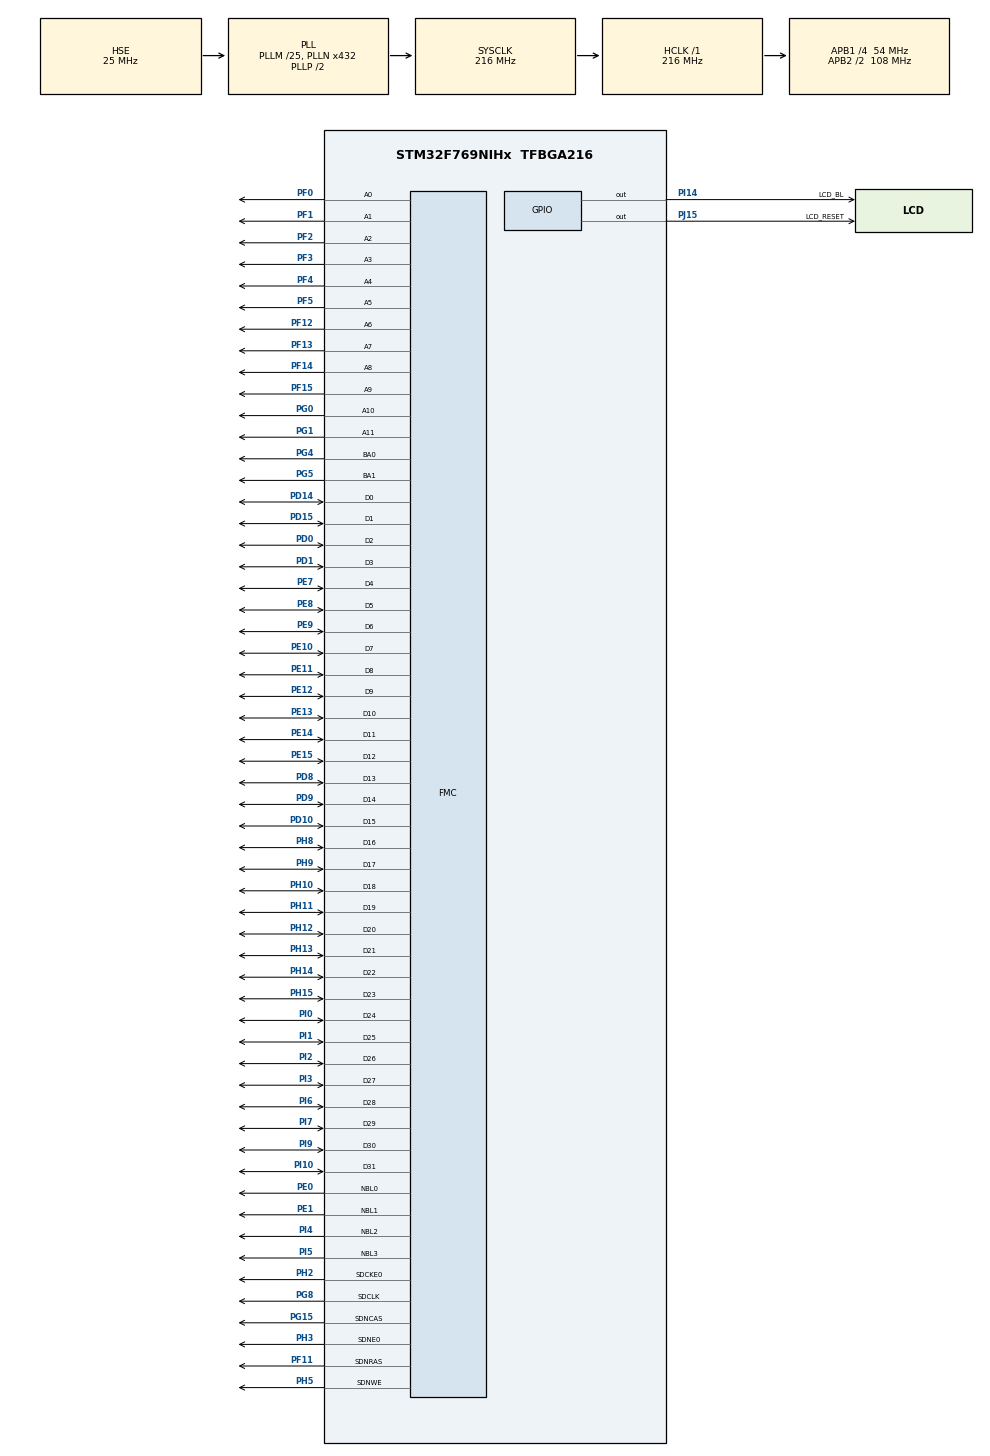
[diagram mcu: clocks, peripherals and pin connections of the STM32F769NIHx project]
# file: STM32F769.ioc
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CORTEX_M7.CPU_DCache=Enabled
CORTEX_M7.CPU_ICache=Enabled
DSIHOST.BTA_FlowControl=__NULL
DSIHOST.ClockLaneLP2HSTime=36
DSIHOST.DataLaneHS2LPTime=18
DSIHOST.DataLaneLP2HSTime=17
DSIHOST.GCEIE=HAL_DSI_ERROR_NONE
DSIHOST.HorizontalBackPorch=80
DSIHOST.HorizontalLine=1994
DSIHOST.HorizontalSyncActive=11
DSIHOST.LPCommandEnable=DSI_LP_COMMAND_ENABLE
DSIHOST.LPHorizontalBackPorchEnable=DSI_LP_HBP_ENABLE
DSIHOST.LPHorizontalFrontPorchEnable=DSI_LP_HFP_ENABLE
DSIHOST.LPLargestPacketSize=28
DSIHOST.LPVACTLargestPacketSize=8
DSIHOST.LPVerticalActiveEnable=DSI_LP_VACT_ENABLE
DSIHOST.LPVerticalBackPorchEnable=DSI_LP_VBP_ENABLE
DSIHOST.LPVerticalFrontPorchEnable=DSI_LP_VFP_ENABLE
DSIHOST.LPVerticalSyncActiveEnable=DSI_LP_VSYNC_ENABLE
DSIHOST.Mode=DSI_VID_MODE_BURST
DSIHOST.NumberOfLanes=DSI_TWO_DATA_LANES
DSIHOST_CKN.Mode=DSIHost_Video
DSIHOST_CKN.Signal=DSIHOST_CKN
DSIHOST_CKP.Mode=DSIHost_Video
DSIHOST_CKP.Signal=DSIHOST_CKP
DSIHOST_D0N.Mode=DSIHost_Video
DSIHOST_D0N.Signal=DSIHOST_D0N
DSIHOST_D0P.Mode=DSIHost_Video
DSIHOST_D0P.Signal=DSIHOST_D0P
DSIHOST_D1N.Mode=DSIHost_Video
DSIHOST_D1N.Signal=DSIHOST_D1N
DSIHOST_D1P.Mode=DSIHost_Video
DSIHOST_D1P.Signal=DSIHOST_D1P
FMC.CASLatency1=FMC_SDRAM_CAS_LATENCY_3
FMC.ColumnBitsNumber1=FMC_SDRAM_COLUMN_BITS_NUM_8
FMC.ExitSelfRefreshDelay1=7
FMC.LoadToActiveDelay1=2
FMC.RCDDelay1=2
FMC.RPDelay1=2
FMC.ReadBurst1=FMC_SDRAM_RBURST_ENABLE
FMC.RowCycleDelay1=7
FMC.SDClockPeriod1=FMC_SDRAM_CLOCK_PERIOD_2
FMC.SelfRefreshTime1=4
FMC.WriteProtection1=FMC_SDRAM_WRITE_PROTECTION_DISABLE
FMC.WriteRecoveryTime1=3
LTDC.ActiveW=800
LTDC.Alpha0_L0=255
LTDC.Alpha_L0=255
LTDC.Blue_L0=255
LTDC.FBStartAdress_L0=0xC0000000
LTDC.Green_L0=255
LTDC.HBP=35
LTDC.HFP=35
LTDC.HSync=5
LTDC.ImageHeight_L0=240
LTDC.ImageWidth_L0=320
LTDC.Layers=0
LTDC.Red=0
LTDC.Red_L0=255
LTDC.VBP=20
LTDC.VFP=20
LTDC.VSync=2
LTDC.WindowX0_L0=240
LTDC.WindowX1_L0=560
LTDC.WindowY0_L0=120
LTDC.WindowY1_L0=360
Mcu.Family=STM32F7
Mcu.Name=STM32F769NIHx
Mcu.Package=TFBGA216
NVIC.PriorityGroup=NVIC_PRIORITYGROUP_4
PA13.Mode=Serial_Wire
PA13.Signal=SYS_JTMS-SWDIO
PA14.Mode=Serial_Wire
PA14.Signal=SYS_JTCK-SWCLK
PD0.Signal=FMC_D2_DA2
PD1.Signal=FMC_D3_DA3
PD10.Signal=FMC_D15_DA15
PD14.Signal=FMC_D0_DA0
PD15.Signal=FMC_D1_DA1
PD8.Signal=FMC_D13_DA13
PD9.Signal=FMC_D14_DA14
PE0.Signal=FMC_NBL0
PE1.Signal=FMC_NBL1
PE10.Signal=FMC_D7_DA7
PE11.Signal=FMC_D8_DA8
PE12.Signal=FMC_D9_DA9
PE13.Signal=FMC_D10_DA10
PE14.Signal=FMC_D11_DA11
PE15.Signal=FMC_D12_DA12
PE7.Signal=FMC_D4_DA4
PE8.Signal=FMC_D5_DA5
PE9.Signal=FMC_D6_DA6
PF0.Signal=FMC_A0
PF1.Signal=FMC_A1
PF11.Signal=FMC_SDNRAS
PF12.Signal=FMC_A6
PF13.Signal=FMC_A7
PF14.Signal=FMC_A8
PF15.Signal=FMC_A9
PF2.Signal=FMC_A2
PF3.Signal=FMC_A3
PF4.Signal=FMC_A4
PF5.Signal=FMC_A5
PG0.Signal=FMC_A10
PG1.Signal=FMC_A11
PG15.Signal=FMC_SDNCAS
PG4.Signal=FMC_A14_BA0
PG5.Signal=FMC_A15_BA1
PG8.Signal=FMC_SDCLK
PH0/OSC_IN.Mode=HSE-External-Oscillator
PH0/OSC_IN.Signal=RCC_OSC_IN
PH1/OSC_OUT.Mode=HSE-External-Oscillator
PH1/OSC_OUT.Signal=RCC_OSC_OUT
PH10.Signal=FMC_D18
PH11.Signal=FMC_D19
PH12.Signal=FMC_D20
PH13.Signal=FMC_D21
PH14.Signal=FMC_D22
PH15.Signal=FMC_D23
PH2.Mode=SdramChipSelect1_1
PH2.Signal=FMC_SDCKE0
PH3.Mode=SdramChipSelect1_1
PH3.Signal=FMC_SDNE0
PH5.Signal=FMC_SDNWE
PH8.Signal=FMC_D16
PH9.Signal=FMC_D17
PI0.Signal=FMC_D24
PI1.Signal=FMC_D25
PI10.Signal=FMC_D31
PI14.GPIO_Label=LCD_BL
PI14.GPIO_PuPd=GPIO_PULLDOWN
PI14.Signal=GPIO_Output
PI2.Signal=FMC_D26
PI3.Signal=FMC_D27
PI4.Signal=FMC_NBL2
PI5.Signal=FMC_NBL3
PI6.Signal=FMC_D28
PI7.Signal=FMC_D29
PI9.Signal=FMC_D30
PJ15.GPIO_Label=LCD_RESET
PJ15.GPIO_PuPd=GPIO_PULLUP
PJ15.Signal=GPIO_Output
ProjectManager.HeapSize=0x200
ProjectManager.StackSize=0x400
ProjectManager.TargetToolchain=STM32CubeIDE
RCC.AHBFreq_Value=216000000
RCC.APB1CLKDivider=RCC_HCLK_DIV4
RCC.APB1Freq_Value=54000000
RCC.APB1TimFreq_Value=108000000
RCC.APB2CLKDivider=RCC_HCLK_DIV2
RCC.APB2Freq_Value=108000000
RCC.APB2TimFreq_Value=216000000
RCC.CortexFreq_Value=216000000
RCC.HCLKFreq_Value=216000000
RCC.HSE_VALUE=25000000
RCC.HSI_VALUE=16000000
RCC.LSE_VALUE=32768
RCC.PLLM=25
RCC.PLLN=432
RCC.PLLSAIN=384
RCC.PLLSAIR=7
RCC.PLLSourceVirtual=RCC_PLLSOURCE_HSE
RCC.SYSCLKFreq_VALUE=216000000
RCC.SYSCLKSource=RCC_SYSCLKSOURCE_PLLCLK
RCC.USBFreq_Value=216000000
RCC.VCOOutputFreq_Value=432000000
SH.FMC_A0.0=FMC_A0,12b-sda1
SH.FMC_A1.0=FMC_A1,12b-sda1
SH.FMC_A10.0=FMC_A10,12b-sda1
SH.FMC_A11.0=FMC_A11,12b-sda1
SH.FMC_A14_BA0.0=FMC_BA0,FourSdramBanks1
SH.FMC_A15_BA1.0=FMC_BA1,FourSdramBanks1
SH.FMC_A2.0=FMC_A2,12b-sda1
SH.FMC_A3.0=FMC_A3,12b-sda1
SH.FMC_A4.0=FMC_A4,12b-sda1
SH.FMC_A5.0=FMC_A5,12b-sda1
SH.FMC_A6.0=FMC_A6,12b-sda1
SH.FMC_A7.0=FMC_A7,12b-sda1
SH.FMC_A8.0=FMC_A8,12b-sda1
SH.FMC_A9.0=FMC_A9,12b-sda1
SH.FMC_D0_DA0.0=FMC_D0,sd-32b-d1
SH.FMC_D10_DA10.0=FMC_D10,sd-32b-d1
SH.FMC_D11_DA11.0=FMC_D11,sd-32b-d1
SH.FMC_D12_DA12.0=FMC_D12,sd-32b-d1
SH.FMC_D13_DA13.0=FMC_D13,sd-32b-d1
SH.FMC_D14_DA14.0=FMC_D14,sd-32b-d1
SH.FMC_D15_DA15.0=FMC_D15,sd-32b-d1
SH.FMC_D16.0=FMC_D16,sd-32b-d1
SH.FMC_D17.0=FMC_D17,sd-32b-d1
SH.FMC_D18.0=FMC_D18,sd-32b-d1
SH.FMC_D19.0=FMC_D19,sd-32b-d1
SH.FMC_D1_DA1.0=FMC_D1,sd-32b-d1
SH.FMC_D20.0=FMC_D20,sd-32b-d1
SH.FMC_D21.0=FMC_D21,sd-32b-d1
SH.FMC_D22.0=FMC_D22,sd-32b-d1
SH.FMC_D23.0=FMC_D23,sd-32b-d1
SH.FMC_D24.0=FMC_D24,sd-32b-d1
SH.FMC_D25.0=FMC_D25,sd-32b-d1
SH.FMC_D26.0=FMC_D26,sd-32b-d1
SH.FMC_D27.0=FMC_D27,sd-32b-d1
SH.FMC_D28.0=FMC_D28,sd-32b-d1
SH.FMC_D29.0=FMC_D29,sd-32b-d1
SH.FMC_D2_DA2.0=FMC_D2,sd-32b-d1
SH.FMC_D30.0=FMC_D30,sd-32b-d1
SH.FMC_D31.0=FMC_D31,sd-32b-d1
SH.FMC_D3_DA3.0=FMC_D3,sd-32b-d1
SH.FMC_D4_DA4.0=FMC_D4,sd-32b-d1
SH.FMC_D5_DA5.0=FMC_D5,sd-32b-d1
SH.FMC_D6_DA6.0=FMC_D6,sd-32b-d1
SH.FMC_D7_DA7.0=FMC_D7,sd-32b-d1
SH.FMC_D8_DA8.0=FMC_D8,sd-32b-d1
SH.FMC_D9_DA9.0=FMC_D9,sd-32b-d1
SH.FMC_NBL0.0=FMC_NBL0,Sd4ByteEnable1
SH.FMC_NBL1.0=FMC_NBL1,Sd4ByteEnable1
SH.FMC_NBL2.0=FMC_NBL2,Sd4ByteEnable1
SH.FMC_NBL3.0=FMC_NBL3,Sd4ByteEnable1
SH.FMC_SDCLK.0=FMC_SDCLK,12b-sda1
SH.FMC_SDNCAS.0=FMC_SDNCAS,12b-sda1
SH.FMC_SDNRAS.0=FMC_SDNRAS,12b-sda1
SH.FMC_SDNWE.0=FMC_SDNWE,12b-sda1
VP_LTDC_DSIMode.Mode=RGB888
board=custom

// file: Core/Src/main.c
/* USER CODE BEGIN Header */
/**
 ******************************************************************************
 * @file           : main.c
 * @brief          : Main program body
 ******************************************************************************
 * @attention
 *
 * Copyright (c) 2023 STMicroelectronics.
 * All rights reserved.
 *
 * This software is licensed under terms that can be found in the LICENSE file
 * in the root directory of this software component.
 * If no LICENSE file comes with this software, it is provided AS-IS.
 *
 ******************************************************************************
 */
/* USER CODE END Header */
#include "main.h"
#include "dsihost.h"
#include "ltdc.h"
#include "gpio.h"
#include "fmc.h"

/* USER CODE BEGIN Includes */
#include <string.h>
#include "otm8009a.h"
#include "life_augmented_argb8888.h"
#include "image_320x240_argb8888.h"
/* USER CODE END Includes */

/* USER CODE BEGIN PM */
#define SDRAM_TIMEOUT                    	      ((uint32_t)0xFFFF)
#define REFRESH_COUNT                    		  ((uint32_t)0x0603)   /* SDRAM refresh counter (100Mhz SD clock) */
#define SDRAM_MODEREG_BURST_LENGTH_1             ((uint16_t)0x0000)
#define SDRAM_MODEREG_BURST_LENGTH_2             ((uint16_t)0x0001)
#define SDRAM_MODEREG_BURST_LENGTH_4             ((uint16_t)0x0002)
#define SDRAM_MODEREG_BURST_LENGTH_8             ((uint16_t)0x0004)
#define SDRAM_MODEREG_BURST_TYPE_SEQUENTIAL      ((uint16_t)0x0000)
#define SDRAM_MODEREG_BURST_TYPE_INTERLEAVED     ((uint16_t)0x0008)
#define SDRAM_MODEREG_CAS_LATENCY_2              ((uint16_t)0x0020)
#define SDRAM_MODEREG_CAS_LATENCY_3              ((uint16_t)0x0030)
#define SDRAM_MODEREG_OPERATING_MODE_STANDARD    ((uint16_t)0x0000)
#define SDRAM_MODEREG_WRITEBURST_MODE_PROGRAMMED ((uint16_t)0x0000)
#define SDRAM_MODEREG_WRITEBURST_MODE_SINGLE     ((uint16_t)0x0200)
/* USER CODE END PM */

void SystemClock_Config(void);

/* USER CODE BEGIN 0 */
#define SDRAM_ADD 0xC0000000
uint8_t wdata[] =
{ 0x1, 0x2, 0x3, 0x4, 0x5 };
uint8_t rdata[10];

void DSI_IO_WriteCmd(uint32_t NbrParams, uint8_t *pParams)
{
	if (NbrParams <= 1)
	{
		HAL_DSI_ShortWrite(&hdsi, 0,
		DSI_DCS_SHORT_PKT_WRITE_P1, pParams[0], pParams[1]);
	}
	else
	{
		HAL_DSI_LongWrite(&hdsi, 0,
		DSI_DCS_LONG_PKT_WRITE, NbrParams, pParams[NbrParams], pParams);
	}
}

/* USER CODE END 0 */

int main(void)
{

	/* Enable I-Cache---------------------------------------------------------*/
	SCB_EnableICache();

	/* Enable D-Cache---------------------------------------------------------*/
	SCB_EnableDCache();

	/* MCU Configuration--------------------------------------------------------*/

	/* Reset of all peripherals, Initializes the Flash interface and the Systick. */
	HAL_Init();

	/* Configure the system clock */
	SystemClock_Config();

	/* Initialize all configured peripherals */
	MX_GPIO_Init();
	MX_FMC_Init();
	MX_LTDC_Init();
	MX_DSIHOST_DSI_Init();
	/* USER CODE BEGIN 2 */
	HAL_GPIO_WritePin(LCD_RESET_GPIO_Port, LCD_RESET_Pin, GPIO_PIN_RESET);
	HAL_Delay(50);
	HAL_GPIO_WritePin(LCD_RESET_GPIO_Port, LCD_RESET_Pin, GPIO_PIN_SET);
	HAL_Delay(50);
	memcpy((uint32_t*) SDRAM_ADD, wdata, 5);
	memcpy(rdata, (uint32_t*) SDRAM_ADD, 5);
	HAL_GPIO_WritePin(LCD_BL_GPIO_Port, LCD_BL_Pin, GPIO_PIN_SET);
	HAL_DSI_Start(&hdsi);
	OTM8009A_Init(OTM8009A_FORMAT_RGB888, 1);
	HAL_LTDC_SetAddress(&hltdc, (uint32_t) &image_320x240_argb8888,
	LTDC_LAYER_1);
	/* USER CODE END 2 */

	/* Infinite loop */
	/* USER CODE BEGIN WHILE */
	while (1)
	{
		HAL_LTDC_SetAddress(&hltdc, (uint32_t) &image_320x240_argb8888,
		LTDC_LAYER_1);
		HAL_Delay(1000);
		HAL_LTDC_SetAddress(&hltdc, (uint32_t) &life_augmented_argb8888,
		LTDC_LAYER_1);
		HAL_Delay(1000);
		/* USER CODE END WHILE */

	}
}

void SystemClock_Config(void)
{
	RCC_OscInitTypeDef RCC_OscInitStruct =
	{ 0 };
	RCC_ClkInitTypeDef RCC_ClkInitStruct =
	{ 0 };

	/** Configure the main internal regulator output voltage
	 */
	__HAL_RCC_PWR_CLK_ENABLE();
	__HAL_PWR_VOLTAGESCALING_CONFIG(PWR_REGULATOR_VOLTAGE_SCALE1);

	/** Initializes the RCC Oscillators according to the specified parameters
	 * in the RCC_OscInitTypeDef structure.
	 */
	RCC_OscInitStruct.OscillatorType = RCC_OSCILLATORTYPE_HSE;
	RCC_OscInitStruct.HSEState = RCC_HSE_ON;
	RCC_OscInitStruct.PLL.PLLState = RCC_PLL_ON;
	RCC_OscInitStruct.PLL.PLLSource = RCC_PLLSOURCE_HSE;
	RCC_OscInitStruct.PLL.PLLM = 25;
	RCC_OscInitStruct.PLL.PLLN = 432;
	RCC_OscInitStruct.PLL.PLLP = RCC_PLLP_DIV2;
	RCC_OscInitStruct.PLL.PLLQ = 2;
	RCC_OscInitStruct.PLL.PLLR = 2;
	if (HAL_RCC_OscConfig(&RCC_OscInitStruct) != HAL_OK)
	{
		Error_Handler();
	}

	/** Activate the Over-Drive mode
	 */
	if (HAL_PWREx_EnableOverDrive() != HAL_OK)
	{
		Error_Handler();
	}

	/** Initializes the CPU, AHB and APB buses clocks
	 */
	RCC_ClkInitStruct.ClockType = RCC_CLOCKTYPE_HCLK | RCC_CLOCKTYPE_SYSCLK
			| RCC_CLOCKTYPE_PCLK1 | RCC_CLOCKTYPE_PCLK2;
	RCC_ClkInitStruct.SYSCLKSource = RCC_SYSCLKSOURCE_PLLCLK;
	RCC_ClkInitStruct.AHBCLKDivider = RCC_SYSCLK_DIV1;
	RCC_ClkInitStruct.APB1CLKDivider = RCC_HCLK_DIV4;
	RCC_ClkInitStruct.APB2CLKDivider = RCC_HCLK_DIV2;

	if (HAL_RCC_ClockConfig(&RCC_ClkInitStruct, FLASH_LATENCY_7) != HAL_OK)
	{
		Error_Handler();
	}
}

void Error_Handler(void)
{
	__disable_irq();
	while (1)
	{
	}
}
